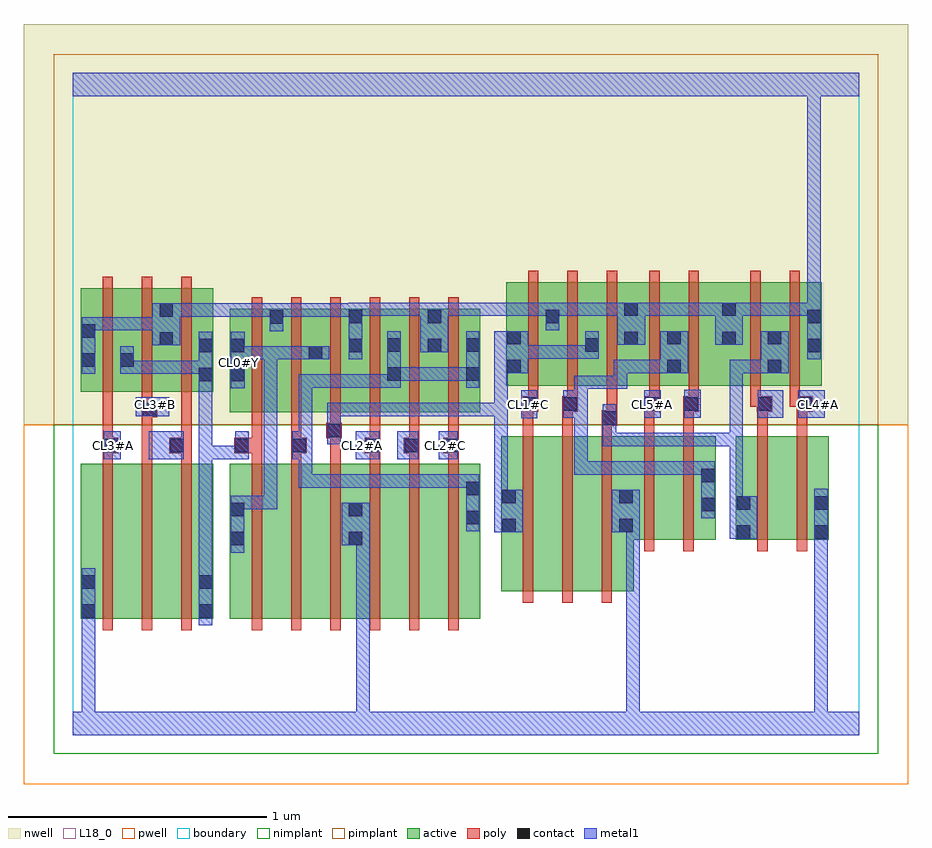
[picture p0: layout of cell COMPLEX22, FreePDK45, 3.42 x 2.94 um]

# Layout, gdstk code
import gdstk
lib = gdstk.Library(unit=1e-6, precision=1e-09)
def R(c, l, rs):  # rectangles x0, y0, x1, y1
    for r in rs: c.add(gdstk.rectangle(r[:2], r[2:], *l))
def A(c, l, x, y, w, h, nx, ny, dx, dy):  # array of equal rectangles
    R(c, l, [(x+i*dx, y+j*dy, x+i*dx+w, y+j*dy+h) for i in range(nx) for j in range(ny)])
active = (1, 0)
pwell = (2, 0)
nwell = (3, 0)
nimplant = (4, 0)
pimplant = (5, 0)
poly = (9, 0)
contact = (10, 0)
metal1 = (11, 0)
L18_0 = (18, 0)
boundary = (235, 0)

complex22 = lib.new_cell('COMPLEX22')
A(complex22, active, 0.908, 1.248, 0.06, 0.396, 3, 1, 0.304, 0)
R(complex22, active, [(0.032,0.45,0.092,1.05), (0.032,0.45,0.212,1.05), (0.212,0.45,0.364,1.05), (0.364,0.45,0.544,1.05), (0.484,0.45,0.544,1.05), (0.608,0.45,0.788,1.05), (0.788,0.45,0.94,1.05), (0.94,0.45,1.124,1.05), (1.064,0.45,1.244,1.05), (1.244,0.45,1.396,1.05), (1.396,0.45,1.576,1.05), (0.608,0.556,0.668,1.05), (1.064,0.556,1.124,0.902), (1.516,0.556,1.576,1.05), (1.656,0.556,1.716,1.156), (1.656,0.556,1.836,1.156), (1.836,0.556,1.988,1.156), (1.988,0.556,2.168,1.156), (2.108,0.556,2.168,1.156), (2.108,0.756,2.304,1.156), (2.304,0.756,2.484,1.156), (2.424,0.756,2.484,1.156), (2.562,0.756,2.622,1.156), (2.562,0.756,2.742,1.156), (2.742,0.756,2.922,1.156), (2.862,0.756,2.922,1.156), (0.608,1.248,0.668,1.644), (0.608,1.248,0.818,1.648), (0.758,1.248,0.968,1.648), (0.758,1.248,0.818,1.646), (0.908,1.248,1.124,1.648), (1.064,1.248,1.124,1.648), (1.064,1.248,1.272,1.648), (1.212,1.248,1.428,1.648), (1.368,1.248,1.428,1.648), (1.368,1.248,1.576,1.648), (0.032,1.328,0.24,1.728), (0.032,1.328,0.092,1.644), (0.18,1.328,0.392,1.728), (0.18,1.328,0.24,1.644), (0.332,1.328,0.392,1.674), (0.332,1.328,0.544,1.728), (0.484,1.328,0.544,1.644), (1.676,1.35,1.736,1.644), (1.676,1.35,1.884,1.75), (1.824,1.35,1.884,1.648), (1.824,1.35,2.036,1.75), (1.976,1.35,2.188,1.75), (1.976,1.35,2.036,1.644), (2.128,1.35,2.188,1.676), (2.128,1.35,2.354,1.75), (2.294,1.35,2.354,1.644), (2.294,1.35,2.566,1.75), (2.506,1.35,2.742,1.75), (2.506,1.35,2.566,1.676), (2.682,1.35,2.894,1.75), (2.682,1.35,2.742,1.644), (2.834,1.35,2.894,1.648)])
R(complex22, pwell, [(-0.188,-0.188,3.228,1.2)])
R(complex22, nwell, [(-0.188,1.2,3.228,2.748)])
R(complex22, nimplant, [(-0.072,-0.072,3.112,1.2)])
R(complex22, pimplant, [(-0.072,1.2,3.112,2.632)])
A(complex22, poly, 0.116, 0.406, 0.04, 0.688, 3, 1, 0.152, 0)
A(complex22, poly, 0.692, 0.406, 0.04, 0.688, 6, 1, 0.152, 0)
A(complex22, poly, 1.74, 0.512, 0.04, 0.688, 3, 1, 0.152, 0)
A(complex22, poly, 1.148, 1.054, 0.04, 0.076, 3, 1, 0.152, 0)
A(complex22, poly, 1.128, 1.09, 0.06, 0.06, 3, 1, 0.152, 0)
A(complex22, poly, 1.148, 1.11, 0.04, 0.134, 3, 1, 0.152, 0)
A(complex22, poly, 0.692, 1.204, 0.04, 0.488, 6, 1, 0.152, 0)
A(complex22, poly, 0.116, 1.284, 0.04, 0.488, 3, 1, 0.152, 0)
A(complex22, poly, 1.76, 1.306, 0.04, 0.488, 3, 1, 0.152, 0)
R(complex22, poly, [(2.208,0.712,2.248,1.2), (2.36,0.712,2.4,1.2), (2.646,0.712,2.686,1.2), (2.798,0.712,2.838,1.2), (0.116,1.054,0.156,1.13), (0.268,1.054,0.308,1.268), (0.42,1.054,0.46,1.13), (0.692,1.054,0.732,1.13), (0.844,1.054,0.884,1.13), (0.996,1.054,1.036,1.188), (0.116,1.09,0.176,1.15), (0.374,1.09,0.46,1.15), (0.624,1.09,0.732,1.15), (0.692,1.09,0.732,1.13), (0.692,1.09,0.732,1.13), (0.844,1.09,0.884,1.13), (0.844,1.09,0.884,1.13), (0.844,1.09,0.904,1.15), (0.116,1.11,0.156,1.15), (0.116,1.11,0.156,1.15), (0.116,1.11,0.156,1.324), (0.42,1.11,0.46,1.15), (0.42,1.11,0.46,1.15), (0.42,1.11,0.46,1.324), (0.692,1.11,0.732,1.244), (0.844,1.11,0.884,1.244), (1.148,1.11,1.188,1.15), (1.148,1.11,1.188,1.15), (1.3,1.11,1.34,1.15), (1.3,1.11,1.34,1.15), (1.452,1.11,1.492,1.15), (1.452,1.11,1.492,1.15), (0.98,1.148,1.04,1.208), (0.996,1.148,1.036,1.188), (0.996,1.148,1.036,1.188), (1.74,1.16,1.78,1.29), (1.892,1.16,1.932,1.29), (2.044,1.16,2.084,1.236), (2.208,1.16,2.248,1.29), (2.36,1.16,2.4,1.29), (2.646,1.16,2.686,1.29), (2.798,1.16,2.838,1.29), (0.996,1.168,1.036,1.244), (2.044,1.196,2.104,1.256), (2.064,1.216,2.104,1.256), (2.064,1.216,2.104,1.256), (2.064,1.216,2.104,1.346), (0.268,1.228,0.308,1.268), (0.268,1.228,0.308,1.268), (0.268,1.228,0.328,1.288), (0.268,1.248,0.308,1.324), (1.74,1.25,1.8,1.31), (1.892,1.25,1.932,1.29), (1.892,1.25,1.932,1.29), (1.892,1.25,1.952,1.31), (2.208,1.25,2.248,1.29), (2.208,1.25,2.248,1.29), (2.208,1.25,2.268,1.31), (2.36,1.25,2.4,1.29), (2.36,1.25,2.4,1.29), (2.36,1.25,2.42,1.31), (2.644,1.25,2.704,1.31), (2.798,1.25,2.86,1.31), (1.76,1.27,1.8,1.346), (1.76,1.27,1.8,1.31), (1.76,1.27,1.8,1.31), (1.912,1.27,1.952,1.346), (2.228,1.27,2.268,1.346), (2.38,1.27,2.42,1.346), (2.618,1.27,2.658,1.346), (2.618,1.27,2.684,1.31), (2.644,1.27,2.684,1.31), (2.77,1.27,2.81,1.346), (2.77,1.27,2.838,1.31), (2.798,1.27,2.838,1.31), (2.228,1.306,2.268,1.794), (2.38,1.306,2.42,1.794), (2.618,1.306,2.658,1.794), (2.77,1.306,2.81,1.794)])
A(complex22, contact, 1.132, 1.094, 0.052, 0.052, 3, 1, 0.152, 0)
R(complex22, contact, [(0.036,0.454,0.088,0.506), (0.488,0.454,0.54,0.506), (0.036,0.566,0.088,0.618), (0.488,0.566,0.54,0.618), (0.612,0.734,0.664,0.786), (1.068,0.734,1.12,0.786), (2.566,0.76,2.618,0.812), (2.866,0.76,2.918,0.812), (1.66,0.784,1.712,0.836), (2.112,0.784,2.164,0.836), (1.52,0.816,1.572,0.868), (0.612,0.846,0.664,0.898), (1.068,0.846,1.12,0.898), (2.428,0.866,2.48,0.918), (2.566,0.872,2.618,0.924), (2.866,0.872,2.918,0.924), (1.66,0.896,1.712,0.948), (2.112,0.896,2.164,0.948), (1.52,0.928,1.572,0.98), (2.428,0.978,2.48,1.03), (0.12,1.094,0.172,1.146), (0.378,1.094,0.43,1.146), (0.628,1.094,0.68,1.146), (0.848,1.094,0.9,1.146), (0.984,1.152,1.036,1.204), (2.048,1.2,2.1,1.252), (0.272,1.232,0.324,1.284), (1.744,1.254,1.796,1.306), (1.896,1.254,1.948,1.306), (2.212,1.254,2.264,1.306), (2.364,1.254,2.416,1.306), (2.648,1.254,2.7,1.306), (2.804,1.254,2.856,1.306), (0.488,1.368,0.54,1.42), (0.612,1.368,0.664,1.42), (1.216,1.37,1.268,1.422), (1.52,1.37,1.572,1.422), (1.68,1.398,1.732,1.45), (2.298,1.398,2.35,1.45), (2.686,1.398,2.738,1.45), (0.036,1.424,0.088,1.476), (0.184,1.424,0.236,1.476), (0.912,1.452,0.964,1.504), (0.488,1.48,0.54,1.532), (0.612,1.48,0.664,1.532), (1.068,1.48,1.12,1.532), (1.372,1.48,1.424,1.532), (2.838,1.48,2.89,1.532), (1.216,1.482,1.268,1.534), (1.52,1.482,1.572,1.534), (1.98,1.482,2.032,1.534), (0.336,1.506,0.388,1.558), (2.132,1.508,2.184,1.56), (2.51,1.508,2.562,1.56), (1.68,1.51,1.732,1.562), (2.298,1.51,2.35,1.562), (2.686,1.51,2.738,1.562), (0.036,1.536,0.088,1.588), (0.762,1.59,0.814,1.642), (1.068,1.592,1.12,1.644), (1.372,1.592,1.424,1.644), (1.828,1.592,1.88,1.644), (2.838,1.592,2.89,1.644), (0.336,1.618,0.388,1.67), (2.132,1.62,2.184,1.672), (2.51,1.62,2.562,1.672)])
A(complex22, metal1, 2.048, 1.006, 0.052, 0.052, 1, 3, 0, 0.166)
A(complex22, metal1, 0.874, 1.342, 0.052, 0.052, 3, 1, 0.11, 0)
R(complex22, metal1, [(0,0,3.04,0.092), (0.036,0.04,0.088,0.092), (0.036,0.04,0.088,0.092), (0.036,0.04,0.088,0.092), (0.036,0.04,0.088,0.092), (0.036,0.04,0.088,0.092), (0.036,0.04,0.088,0.092), (0.036,0.04,0.088,0.092), (0.036,0.04,0.088,0.092), (0.036,0.04,0.088,0.478), (1.096,0.04,1.148,0.786), (2.14,0.04,2.192,0.092), (2.14,0.04,2.192,0.092), (2.14,0.04,2.192,0.092), (2.14,0.04,2.192,0.092), (2.14,0.04,2.192,0.092), (2.14,0.04,2.192,0.092), (2.14,0.04,2.192,0.836), (2.866,0.04,2.918,0.092), (2.866,0.04,2.918,0.092), (2.866,0.04,2.918,0.092), (2.866,0.04,2.918,0.092), (2.866,0.04,2.918,0.092), (2.866,0.04,2.918,0.092), (2.866,0.04,2.918,0.092), (2.866,0.04,2.918,0.092), (2.866,0.04,2.918,0.092), (2.866,0.04,2.918,0.092), (2.866,0.04,2.918,0.092), (2.866,0.04,2.918,0.092), (2.866,0.04,2.918,0.784), (0.036,0.426,0.088,0.646), (0.488,0.426,0.54,0.646), (0.488,0.594,0.54,0.646), (0.488,0.594,0.54,0.646), (0.488,0.594,0.54,1.118), (0.612,0.706,0.664,0.926), (2.866,0.732,2.918,0.952), (1.04,0.734,1.148,0.898), (1.096,0.734,1.148,0.786), (1.096,0.734,1.148,0.786), (1.096,0.734,1.148,0.786), (1.096,0.734,1.148,0.786), (1.096,0.734,1.148,0.786), (1.096,0.734,1.148,0.786), (1.096,0.734,1.148,0.786), (1.096,0.734,1.148,0.786), (2.538,0.76,2.646,0.924), (1.63,0.784,1.74,0.948), (2.084,0.784,2.192,0.948), (2.14,0.784,2.192,0.836), (2.14,0.784,2.192,0.836), (1.52,0.788,1.572,1.008), (2.428,0.838,2.48,1.058), (2.538,0.872,2.59,1.168), (0.612,0.874,0.664,0.926), (0.612,0.874,0.664,0.926), (0.612,0.874,0.79,0.926), (0.738,0.874,0.79,0.926), (0.738,0.874,0.79,0.926), (0.738,0.874,0.79,0.926), (0.738,0.874,0.79,0.926), (0.738,0.874,0.79,0.926), (0.738,0.874,0.79,1.504), (1.63,0.896,1.682,0.948), (1.63,0.896,1.682,0.948), (1.63,0.896,1.682,1.284), (0.874,0.956,0.926,1.008), (0.874,0.956,1.01,1.008), (0.874,0.956,0.926,1.118), (0.958,0.956,1.01,1.008), (0.958,0.956,1.146,1.008), (1.094,0.956,1.146,1.008), (1.094,0.956,1.146,1.008), (1.094,0.956,1.146,1.008), (1.094,0.956,1.256,1.008), (1.204,0.956,1.256,1.008), (1.204,0.956,1.256,1.008), (1.204,0.956,1.256,1.008), (1.204,0.956,1.456,1.008), (1.404,0.956,1.456,1.008), (1.404,0.956,1.456,1.008), (1.404,0.956,1.456,1.008), (1.404,0.956,1.572,1.008), (1.938,1.006,1.99,1.058), (1.938,1.006,1.99,1.058), (1.938,1.006,1.99,1.058), (1.938,1.006,2.1,1.058), (1.938,1.006,1.99,1.334), (2.048,1.006,2.1,1.058), (2.048,1.006,2.1,1.058), (2.048,1.006,2.21,1.058), (2.158,1.006,2.21,1.058), (2.158,1.006,2.37,1.058), (2.318,1.006,2.37,1.058), (2.318,1.006,2.37,1.058), (2.318,1.006,2.37,1.058), (2.318,1.006,2.48,1.058), (0.12,1.066,0.186,1.174), (0.294,1.066,0.43,1.174), (0.488,1.066,0.54,1.118), (0.488,1.066,0.54,1.118), (0.488,1.066,0.54,1.118), (0.488,1.066,0.68,1.118), (0.488,1.066,0.54,1.392), (0.628,1.066,0.68,1.174), (0.848,1.066,0.9,1.174), (0.848,1.066,0.926,1.118), (0.874,1.066,0.926,1.118), (0.874,1.066,0.926,1.118), (0.874,1.066,0.926,1.118), (0.874,1.066,0.926,1.394), (1.094,1.066,1.184,1.174), (1.254,1.066,1.336,1.174), (1.414,1.066,1.488,1.174), (2.048,1.116,2.21,1.168), (2.048,1.116,2.1,1.224), (2.158,1.116,2.21,1.168), (2.158,1.116,2.37,1.168), (2.318,1.116,2.37,1.168), (2.318,1.116,2.37,1.168), (2.318,1.116,2.37,1.168), (2.318,1.116,2.59,1.168), (2.538,1.116,2.59,1.168), (2.538,1.116,2.59,1.168), (2.538,1.116,2.59,1.168), (2.538,1.116,2.59,1.45), (0.984,1.124,1.036,1.232), (2.048,1.172,2.1,1.28), (0.984,1.18,1.036,1.232), (0.984,1.18,1.036,1.284), (1.734,1.224,1.796,1.334), (1.896,1.226,1.948,1.334), (2.208,1.226,2.272,1.334), (2.364,1.226,2.426,1.336), (2.648,1.226,2.746,1.334), (2.804,1.226,2.906,1.334), (0.244,1.232,0.374,1.306), (0.984,1.232,1.146,1.284), (1.094,1.232,1.146,1.284), (1.094,1.232,1.286,1.284), (1.234,1.232,1.286,1.284), (1.234,1.232,1.286,1.284), (1.234,1.232,1.286,1.284), (1.234,1.232,1.456,1.284), (1.404,1.232,1.456,1.284), (1.404,1.232,1.566,1.284), (1.514,1.232,1.566,1.284), (1.514,1.232,1.566,1.284), (1.514,1.232,1.566,1.284), (1.514,1.232,1.682,1.284), (1.63,1.232,1.682,1.284), (1.63,1.232,1.682,1.45), (1.896,1.282,1.99,1.334), (1.938,1.282,1.99,1.39), (1.938,1.338,2.1,1.39), (2.048,1.338,2.142,1.39), (2.09,1.338,2.142,1.39), (2.09,1.338,2.142,1.45), (0.488,1.34,0.54,1.56), (0.612,1.34,0.666,1.56), (0.874,1.342,1.036,1.394), (0.984,1.342,1.146,1.394), (1.094,1.342,1.146,1.394), (1.094,1.342,1.146,1.394), (1.094,1.342,1.268,1.394), (1.216,1.342,1.268,1.562), (1.52,1.342,1.572,1.562), (1.216,1.37,1.268,1.422), (1.216,1.37,1.268,1.422), (1.216,1.37,1.396,1.422), (1.344,1.37,1.396,1.422), (1.344,1.37,1.396,1.422), (1.344,1.37,1.396,1.422), (1.344,1.37,1.572,1.422), (0.036,1.396,0.088,1.616), (0.184,1.396,0.236,1.448), (0.184,1.396,0.236,1.448), (0.184,1.396,0.236,1.504), (0.184,1.396,0.43,1.448), (0.378,1.396,0.43,1.448), (0.378,1.396,0.43,1.448), (0.378,1.396,0.43,1.448), (0.378,1.396,0.54,1.448), (1.63,1.398,1.76,1.562), (2.09,1.398,2.142,1.45), (2.09,1.398,2.26,1.45), (2.208,1.398,2.26,1.45), (2.208,1.398,2.322,1.45), (2.27,1.398,2.378,1.562), (2.538,1.398,2.59,1.45), (2.538,1.398,2.59,1.45), (2.538,1.398,2.59,1.45), (2.538,1.398,2.71,1.45), (2.658,1.398,2.71,1.45), (2.658,1.398,2.71,1.45), (2.658,1.398,2.766,1.562), (0.614,1.452,0.666,1.504), (0.614,1.452,0.666,1.504), (0.614,1.452,0.79,1.504), (0.738,1.452,0.79,1.504), (0.738,1.452,0.79,1.504), (0.738,1.452,0.79,1.504), (0.738,1.452,0.79,1.504), (0.738,1.452,0.79,1.504), (0.738,1.452,0.936,1.504), (0.884,1.452,0.992,1.504), (1.068,1.452,1.12,1.672), (2.838,1.452,2.89,1.672), (1.708,1.454,1.76,1.506), (1.708,1.454,1.76,1.506), (1.708,1.454,1.88,1.506), (1.828,1.454,1.88,1.506), (1.828,1.454,1.88,1.506), (1.828,1.454,1.88,1.506), (1.828,1.454,2.032,1.506), (1.98,1.454,2.032,1.562), (1.344,1.48,1.452,1.672), (0.308,1.506,0.416,1.67), (2.104,1.508,2.212,1.672), (2.482,1.508,2.59,1.672), (0.762,1.562,0.814,1.67), (0.036,1.564,0.088,1.616), (0.036,1.564,0.088,1.616), (0.036,1.564,0.236,1.616), (0.184,1.564,0.236,1.616), (0.184,1.564,0.236,1.616), (0.184,1.564,0.236,1.616), (0.184,1.564,0.36,1.616), (1.828,1.564,1.88,1.672), (0.364,1.618,0.416,1.67), (0.364,1.618,0.416,1.67), (0.364,1.618,0.554,1.67), (0.502,1.618,0.554,1.67), (0.502,1.618,0.554,1.67), (0.502,1.618,0.554,1.67), (0.502,1.618,0.664,1.67), (0.612,1.618,0.664,1.67), (0.612,1.618,0.814,1.67), (0.762,1.618,0.814,1.67), (0.762,1.618,0.814,1.67), (0.762,1.618,0.924,1.67), (0.872,1.618,0.924,1.67), (0.872,1.618,1.036,1.67), (0.984,1.618,1.036,1.67), (0.984,1.618,1.12,1.67), (1.068,1.62,1.146,1.672), (1.094,1.62,1.146,1.672), (1.094,1.62,1.256,1.672), (1.204,1.62,1.256,1.672), (1.204,1.62,1.256,1.672), (1.204,1.62,1.256,1.672), (1.204,1.62,1.396,1.672), (1.4,1.62,1.452,1.672), (1.4,1.62,1.452,1.672), (1.4,1.62,1.572,1.672), (1.52,1.62,1.572,1.672), (1.52,1.62,1.676,1.672), (1.624,1.62,1.676,1.672), (1.624,1.62,1.682,1.672), (1.63,1.62,1.682,1.672), (1.63,1.62,1.88,1.672), (1.828,1.62,1.88,1.672), (1.828,1.62,1.88,1.672), (1.828,1.62,1.99,1.672), (1.938,1.62,1.99,1.672), (1.938,1.62,2.058,1.672), (2.006,1.62,2.058,1.672), (2.006,1.62,2.156,1.672), (2.16,1.62,2.212,1.672), (2.16,1.62,2.212,1.672), (2.16,1.62,2.37,1.672), (2.318,1.62,2.37,1.672), (2.318,1.62,2.37,1.672), (2.318,1.62,2.37,1.672), (2.318,1.62,2.534,1.672), (2.482,1.62,2.534,1.672), (2.482,1.62,2.534,1.672), (2.538,1.62,2.7,1.672), (2.648,1.62,2.7,1.672), (2.648,1.62,2.7,1.672), (2.648,1.62,2.7,1.672), (2.648,1.62,2.89,1.672), (2.838,1.62,2.89,1.672), (2.838,1.62,2.89,1.672), (2.838,1.62,2.89,1.672), (2.838,1.62,2.89,1.672), (2.838,1.62,2.89,1.672), (2.838,1.62,2.89,1.672), (2.838,1.62,2.89,1.672), (2.838,1.62,2.89,1.672), (2.838,1.62,2.89,1.672), (2.838,1.62,2.89,1.672), (2.838,1.62,2.89,1.672), (2.838,1.62,2.89,1.672), (2.838,1.62,2.89,1.672), (2.838,1.62,2.89,1.672), (2.838,1.62,2.89,1.672), (2.838,1.62,2.89,1.672), (2.838,1.62,2.89,1.672), (2.838,1.62,2.89,1.672), (2.838,1.62,2.89,2.52), (0,2.468,3.04,2.56)])
A(complex22, L18_0, 1.094, 1.094, 0.052, 0.052, 3, 1, 0.16, 0)
R(complex22, L18_0, [(0,0,3.04,0.092), (0.036,0.04,0.088,0.092), (0.036,0.04,0.088,0.092), (0.036,0.04,0.088,0.092), (0.036,0.04,0.088,0.092), (0.036,0.04,0.088,0.092), (0.036,0.04,0.088,0.092), (0.036,0.04,0.088,0.092), (0.036,0.04,0.088,0.092), (0.036,0.04,0.088,0.478), (1.096,0.04,1.148,0.786), (2.14,0.04,2.192,0.092), (2.14,0.04,2.192,0.092), (2.14,0.04,2.192,0.092), (2.14,0.04,2.192,0.092), (2.14,0.04,2.192,0.092), (2.14,0.04,2.192,0.092), (2.14,0.04,2.192,0.836), (2.866,0.04,2.918,0.092), (2.866,0.04,2.918,0.092), (2.866,0.04,2.918,0.092), (2.866,0.04,2.918,0.092), (2.866,0.04,2.918,0.092), (2.866,0.04,2.918,0.092), (2.866,0.04,2.918,0.092), (2.866,0.04,2.918,0.092), (2.866,0.04,2.918,0.092), (2.866,0.04,2.918,0.092), (2.866,0.04,2.918,0.092), (2.866,0.04,2.918,0.092), (2.866,0.04,2.918,0.784), (0.036,0.426,0.088,0.646), (0.612,0.706,0.664,0.926), (2.866,0.732,2.918,0.952), (1.04,0.734,1.148,0.898), (1.096,0.734,1.148,0.786), (1.096,0.734,1.148,0.786), (1.096,0.734,1.148,0.786), (1.096,0.734,1.148,0.786), (1.096,0.734,1.148,0.786), (1.096,0.734,1.148,0.786), (1.096,0.734,1.148,0.786), (1.096,0.734,1.148,0.786), (2.084,0.784,2.192,0.948), (2.14,0.784,2.192,0.836), (2.14,0.784,2.192,0.836), (0.612,0.874,0.664,0.926), (0.612,0.874,0.664,0.926), (0.612,0.874,0.79,0.926), (0.738,0.874,0.79,0.926), (0.738,0.874,0.79,0.926), (0.738,0.874,0.79,0.926), (0.738,0.874,0.79,0.926), (0.738,0.874,0.79,0.926), (0.738,0.874,0.79,1.504), (0.12,1.066,0.186,1.174), (0.294,1.066,0.43,1.174), (1.094,1.066,1.184,1.174), (1.254,1.066,1.336,1.174), (1.414,1.066,1.488,1.174), (0.134,1.094,0.186,1.146), (0.294,1.094,0.346,1.146), (1.734,1.224,1.796,1.334), (2.208,1.226,2.272,1.334), (2.364,1.226,2.426,1.336), (2.648,1.226,2.746,1.334), (2.804,1.226,2.906,1.334), (0.244,1.232,0.374,1.306), (0.294,1.254,0.346,1.306), (1.734,1.254,1.786,1.306), (2.214,1.254,2.266,1.306), (2.374,1.254,2.426,1.306), (2.694,1.254,2.746,1.306), (2.854,1.254,2.906,1.306), (0.612,1.34,0.666,1.56), (0.036,1.396,0.088,1.616), (0.614,1.414,0.666,1.466), (0.614,1.452,0.666,1.504), (0.614,1.452,0.666,1.504), (0.614,1.452,0.79,1.504), (0.738,1.452,0.79,1.504), (0.738,1.452,0.79,1.504), (0.738,1.452,0.79,1.504), (0.738,1.452,0.79,1.504), (0.738,1.452,0.79,1.504), (0.738,1.452,0.936,1.504), (0.884,1.452,0.992,1.504), (1.068,1.452,1.12,1.672), (2.838,1.452,2.89,1.672), (1.344,1.48,1.452,1.672), (0.308,1.506,0.416,1.67), (2.104,1.508,2.212,1.672), (2.482,1.508,2.59,1.672), (0.762,1.562,0.814,1.67), (0.036,1.564,0.088,1.616), (0.036,1.564,0.088,1.616), (0.036,1.564,0.236,1.616), (0.184,1.564,0.236,1.616), (0.184,1.564,0.236,1.616), (0.184,1.564,0.236,1.616), (0.184,1.564,0.36,1.616), (1.828,1.564,1.88,1.672), (0.364,1.618,0.416,1.67), (0.364,1.618,0.416,1.67), (0.364,1.618,0.554,1.67), (0.502,1.618,0.554,1.67), (0.502,1.618,0.554,1.67), (0.502,1.618,0.554,1.67), (0.502,1.618,0.664,1.67), (0.612,1.618,0.664,1.67), (0.612,1.618,0.814,1.67), (0.762,1.618,0.814,1.67), (0.762,1.618,0.814,1.67), (0.762,1.618,0.924,1.67), (0.872,1.618,0.924,1.67), (0.872,1.618,1.036,1.67), (0.984,1.618,1.036,1.67), (0.984,1.618,1.12,1.67), (1.068,1.62,1.146,1.672), (1.094,1.62,1.146,1.672), (1.094,1.62,1.256,1.672), (1.204,1.62,1.256,1.672), (1.204,1.62,1.256,1.672), (1.204,1.62,1.256,1.672), (1.204,1.62,1.396,1.672), (1.4,1.62,1.452,1.672), (1.4,1.62,1.452,1.672), (1.4,1.62,1.572,1.672), (1.52,1.62,1.572,1.672), (1.52,1.62,1.676,1.672), (1.624,1.62,1.676,1.672), (1.624,1.62,1.682,1.672), (1.63,1.62,1.682,1.672), (1.63,1.62,1.88,1.672), (1.828,1.62,1.88,1.672), (1.828,1.62,1.88,1.672), (1.828,1.62,1.99,1.672), (1.938,1.62,1.99,1.672), (1.938,1.62,2.058,1.672), (2.006,1.62,2.058,1.672), (2.006,1.62,2.156,1.672), (2.16,1.62,2.212,1.672), (2.16,1.62,2.212,1.672), (2.16,1.62,2.37,1.672), (2.318,1.62,2.37,1.672), (2.318,1.62,2.37,1.672), (2.318,1.62,2.37,1.672), (2.318,1.62,2.534,1.672), (2.482,1.62,2.534,1.672), (2.482,1.62,2.534,1.672), (2.538,1.62,2.7,1.672), (2.648,1.62,2.7,1.672), (2.648,1.62,2.7,1.672), (2.648,1.62,2.7,1.672), (2.648,1.62,2.89,1.672), (2.838,1.62,2.89,1.672), (2.838,1.62,2.89,1.672), (2.838,1.62,2.89,1.672), (2.838,1.62,2.89,1.672), (2.838,1.62,2.89,1.672), (2.838,1.62,2.89,1.672), (2.838,1.62,2.89,1.672), (2.838,1.62,2.89,1.672), (2.838,1.62,2.89,1.672), (2.838,1.62,2.89,1.672), (2.838,1.62,2.89,1.672), (2.838,1.62,2.89,1.672), (2.838,1.62,2.89,1.672), (2.838,1.62,2.89,1.672), (2.838,1.62,2.89,1.672), (2.838,1.62,2.89,1.672), (2.838,1.62,2.89,1.672), (2.838,1.62,2.89,1.672), (2.838,1.62,2.89,2.52), (0,2.468,3.04,2.56)])
R(complex22, boundary, [(0,0,3.04,2.56)])
complex22.add(gdstk.Label('CL0#Y', (0.64,1.44), layer=11, texttype=0))
complex22.add(gdstk.Label('CL1#C', (1.76,1.28), layer=11, texttype=0))
complex22.add(gdstk.Label('CL2#A', (1.12,1.12), layer=11, texttype=0))
complex22.add(gdstk.Label('CL2#B', (1.28,1.12), layer=11, texttype=0))
complex22.add(gdstk.Label('CL2#C', (1.44,1.12), layer=11, texttype=0))
complex22.add(gdstk.Label('CL3#A', (0.16,1.12), layer=11, texttype=0))
complex22.add(gdstk.Label('CL3#B', (0.32,1.28), layer=11, texttype=0))
complex22.add(gdstk.Label('CL3#C', (0.32,1.12), layer=11, texttype=0))
complex22.add(gdstk.Label('CL4#A', (2.88,1.28), layer=11, texttype=0))
complex22.add(gdstk.Label('CL4#B', (2.72,1.28), layer=11, texttype=0))
complex22.add(gdstk.Label('CL5#A', (2.24,1.28), layer=11, texttype=0))
complex22.add(gdstk.Label('CL5#B', (2.4,1.28), layer=11, texttype=0))

lib.write_gds('COMPLEX22.gds')
